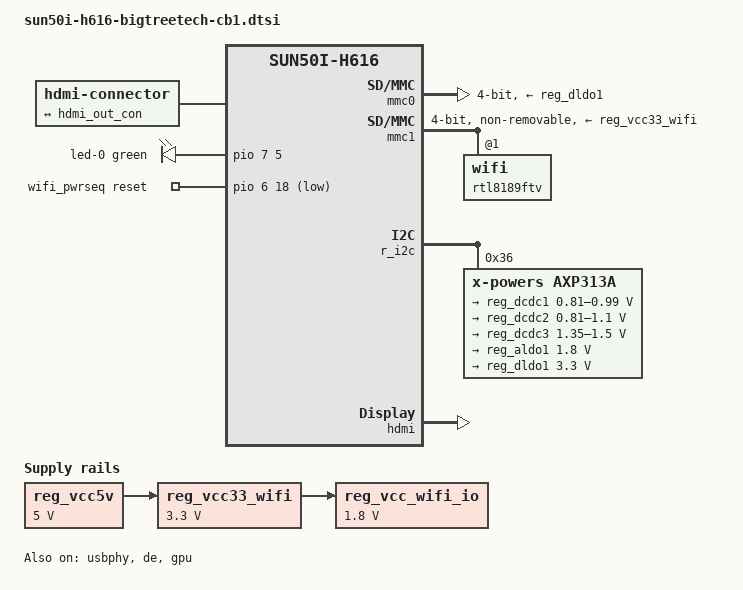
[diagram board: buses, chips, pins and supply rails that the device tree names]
// SPDX-License-Identifier: (GPL-2.0+ or MIT)
/*
 * Copyright (C) 2023 Martin Botka <martin.botka@somainline.org>.
 */

/dts-v1/;

#include "sun50i-h616.dtsi"

#include <dt-bindings/gpio/gpio.h>
#include <dt-bindings/interrupt-controller/arm-gic.h>
#include <dt-bindings/leds/common.h>

/ {
	aliases {
		ethernet0 = &rtl8189ftv;
	};

	connector {
		compatible = "hdmi-connector";
		type = "d";

		port {
			hdmi_con_in: endpoint {
				remote-endpoint = <&hdmi_out_con>;
			};
		};
	};

	leds {
		compatible = "gpio-leds";

		led-0 {
			function = LED_FUNCTION_STATUS;
			color = <LED_COLOR_ID_GREEN>;
			gpios = <&pio 7 5 GPIO_ACTIVE_HIGH>; /* PH5 */
		};
	};

	reg_vcc5v: regulator-vcc5v {
		/* board wide 5V supply from carrier boards */
		compatible = "regulator-fixed";
		regulator-name = "vcc-5v";
		regulator-min-microvolt = <5000000>;
		regulator-max-microvolt = <5000000>;
		regulator-always-on;
	};

	reg_vcc33_wifi: vcc33-wifi {
		/* Always on 3.3V regulator for WiFi */
		compatible = "regulator-fixed";
		regulator-name = "vcc33-wifi";
		regulator-min-microvolt = <3300000>;
		regulator-max-microvolt = <3300000>;
		regulator-always-on;
		vin-supply = <&reg_vcc5v>;
	};

	reg_vcc_wifi_io: vcc-wifi-io {
		/* Always on 1.8V/300mA regulator for WiFi */
		compatible = "regulator-fixed";
		regulator-name = "vcc-wifi-io";
		regulator-min-microvolt = <1800000>;
		regulator-max-microvolt = <1800000>;
		regulator-always-on;
		vin-supply = <&reg_vcc33_wifi>;
	};

	wifi_pwrseq: wifi-pwrseq {
		compatible = "mmc-pwrseq-simple";
		clocks = <&rtc 1>;
		clock-names = "ext_clock";
		reset-gpios = <&pio 6 18 GPIO_ACTIVE_LOW>; /* PG18 */
		post-power-on-delay-ms = <200>;
	};

	cpu_opp_table: opp-table-cpu {
		compatible = "operating-points-v2";
		opp-shared;

		opp-480000000 {
			opp-hz = /bits/ 64 <480000000>;
			opp-microvolt = <820000>;
			clock-latency-ns = <244144>; /* 8 32k periods */
		};

		opp-600000000 {
			opp-hz = /bits/ 64 <600000000>;
			opp-microvolt = <820000>;
			clock-latency-ns = <244144>; /* 8 32k periods */
		};

		opp-792000000 {
			opp-hz = /bits/ 64 <792000000>;
			opp-microvolt = <860000>;
			clock-latency-ns = <244144>; /* 8 32k periods */
		};

		opp-1008000000 {
			opp-hz = /bits/ 64 <1008000000>;
			opp-microvolt = <900000>;
			clock-latency-ns = <244144>; /* 8 32k periods */
		};

		opp-1200000000 {
			opp-hz = /bits/ 64 <1200000000>;
			opp-microvolt = <960000>;
			clock-latency-ns = <244144>; /* 8 32k periods */
		};

		opp-1512000000 {
			opp-hz = /bits/ 64 <1512000000>;
			opp-microvolt = <1100000>;
			clock-latency-ns = <244144>; /* 8 32k periods */
		};
	};

	gpu_opp_table: opp-table-1 {
		compatible = "operating-points-v2";

		opp-200000000 {
			opp-hz = /bits/ 64 <200000000>;
			opp-microvolt = <1100000>;
		};
		opp-312000000 {
			opp-hz = /bits/ 64 <312000000>;
			opp-microvolt = <1100000>;
		};
		opp-432000000 {
			opp-hz = /bits/ 64 <432000000>;
			opp-microvolt = <1100000>;
		};
		opp-528000000 {
			opp-hz = /bits/ 64 <528000000>;
			opp-microvolt = <1100000>;
		};
		opp-650000000 {
			opp-hz = /bits/ 64 <650000000>;
			opp-microvolt = <1100000>;
		};
	};
};

&mmc0 {
	vmmc-supply = <&reg_dldo1>;
	/* Card detection pin is not connected */
	broken-cd;
	bus-width = <4>;
	status = "okay";
};

&mmc1 {
	vmmc-supply = <&reg_vcc33_wifi>;
	vqmmc-supply = <&reg_vcc_wifi_io>;
	mmc-pwrseq = <&wifi_pwrseq>;
	bus-width = <4>;
	non-removable;
	mmc-ddr-1_8v;
	status = "okay";

	rtl8189ftv: wifi@1 {
		reg = <1>;
	};
};

&r_i2c {
	status = "okay";

	axp313a: pmic@36 {
		compatible = "x-powers,axp313a";
		reg = <0x36>;
		interrupt-controller;
		#interrupt-cells = <1>;

		regulators{
			reg_dcdc1: dcdc1 {
				regulator-name = "vdd-gpu-sys";
				regulator-min-microvolt = <810000>;
				regulator-max-microvolt = <990000>;
				regulator-always-on;
			};

			reg_dcdc2: dcdc2 {
				regulator-name = "vdd-cpu";
				regulator-min-microvolt = <810000>;
				regulator-max-microvolt = <1100000>;
				regulator-ramp-delay = <200>;
				regulator-always-on;
			};

			reg_dcdc3: dcdc3 {
				regulator-name = "vcc-dram";
				regulator-min-microvolt = <1350000>;
				regulator-max-microvolt = <1500000>;
				regulator-always-on;
			};

			reg_aldo1: aldo1 {
				regulator-name = "vcc-1v8-pll";
				regulator-min-microvolt = <1800000>;
				regulator-max-microvolt = <1800000>;
				regulator-always-on;
			};

			reg_dldo1: dldo1 {
				regulator-name = "vcc-3v3-io";
				regulator-min-microvolt = <3300000>;
				regulator-max-microvolt = <3300000>;
				regulator-always-on;
			};
		};
	};
};

&usbphy {
	status = "okay";
};

&de {
	status = "okay";
};

&hdmi {
	hvcc-supply = <&reg_aldo1>;
	status = "okay";
};

&hdmi_out {
	hdmi_out_con: endpoint {
		remote-endpoint = <&hdmi_con_in>;
	};
};

&gpu {
	mali-supply = <&reg_dcdc1>;
	operating-points-v2 = <&gpu_opp_table>;
	status = "okay";
};

&cpu0 {
	operating-points-v2 = <&cpu_opp_table>;
	cpu-supply = <&reg_dcdc2>;
};

&cpu1 {
	operating-points-v2 = <&cpu_opp_table>;
};

&cpu2 {
	operating-points-v2 = <&cpu_opp_table>;
};

&cpu3 {
	operating-points-v2 = <&cpu_opp_table>;
};
